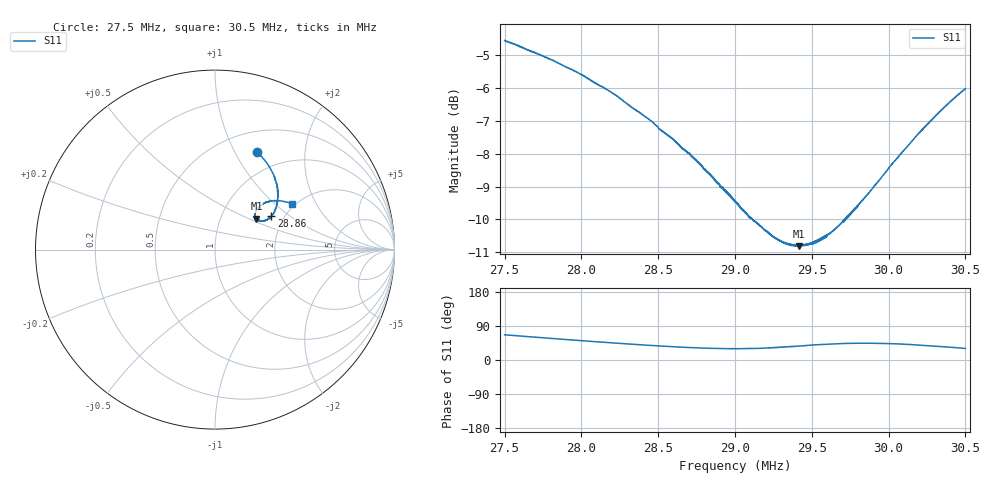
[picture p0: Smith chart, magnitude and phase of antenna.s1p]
! Calibrated three-pass averaged EFHW harmonic sweep
# Hz S RI R 50
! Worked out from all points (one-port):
!   3001 points, 27.5 MHz to 30.5 MHz, reference 50 ohm
!   lowest |S11| = -10.8 dB at 29.41 MHz (marker M1), VSWR 1.81, Z = 73.9 + j27.7 ohm
!   |S11| at or under -10 dB: 29.11266 MHz to 29.11331 MHz (652.3 Hz wide, 0.00224 % of centre); 29.11 MHz to 29.72 MHz (601 kHz wide, 2.04 % of centre); 29.7184 MHz to 29.71941 MHz (1.011 kHz wide, 0.0034 % of centre)
!   S11 on the Smith chart (normalised r, x): 27.5 MHz: 0.74, +1.24; 28.86 MHz: 1.72, +0.74; 30.5 MHz: 1.93, +1.30
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2.75e7  0.2364 0.5425
2.7701e7  0.282 0.4912
2.7875e7  0.313 0.4437
2.8039e7  0.3345 0.3965
2.8145e7  0.3437 0.3655
2.825e7  0.3479 0.3353
2.8444e7  0.3499 0.2799
2.8625e7  0.3403 0.2328
2.8762e7  0.3279 0.2044
2.8862e7  0.314 0.1857
2.9e7  0.291 0.1678
2.9086e7  0.2762 0.162
2.9166e7  0.2656 0.1588
2.9273e7  0.2469 0.1617
2.9375e7  0.2349 0.1673
2.9414e7  0.2311 0.1717
2.9496e7  0.2252 0.1833
2.9583e7  0.2231 0.1954
2.9652e7  0.2253 0.2068
2.975e7  0.2328 0.2241
2.9839e7  0.243 0.2377
2.9923e7  0.2581 0.2491
3.0019e7  0.2795 0.2619
3.0125e7  0.3078 0.2694
3.0199e7  0.3302 0.2725
3.0314e7  0.3674 0.2713
3.0406e7  0.3989 0.2651
3.05e7  0.4307 0.2533
